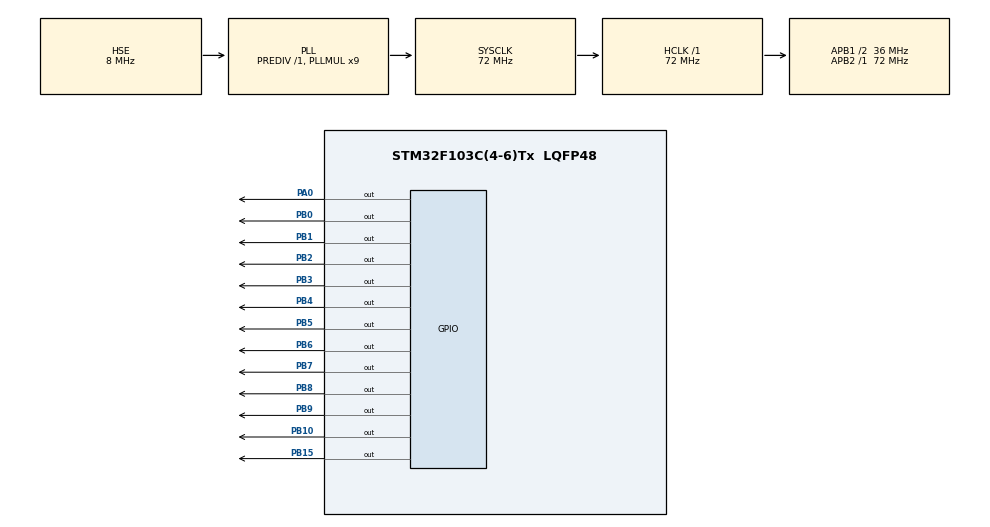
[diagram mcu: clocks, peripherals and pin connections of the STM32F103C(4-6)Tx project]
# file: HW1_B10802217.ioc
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Mcu.Family=STM32F1
Mcu.Name=STM32F103C(4-6)Tx
Mcu.Package=LQFP48
NVIC.PriorityGroup=NVIC_PRIORITYGROUP_4
NVIC.TIM2_IRQn=true\:0\:0\:false\:false\:true\:true\:true
PA0-WKUP.Signal=GPIO_Output
PB0.Signal=GPIO_Output
PB1.Signal=GPIO_Output
PB10.Signal=GPIO_Output
PB15.Signal=GPIO_Output
PB2.Signal=GPIO_Output
PB3.Signal=GPIO_Output
PB4.Signal=GPIO_Output
PB5.Signal=GPIO_Output
PB6.Signal=GPIO_Output
PB7.Signal=GPIO_Output
PB8.Signal=GPIO_Output
PB9.Signal=GPIO_Output
PC14-OSC32_IN.Mode=LSE-External-Oscillator
PC14-OSC32_IN.Signal=RCC_OSC32_IN
PC15-OSC32_OUT.Mode=LSE-External-Oscillator
PC15-OSC32_OUT.Signal=RCC_OSC32_OUT
PD0-OSC_IN.Mode=HSE-External-Oscillator
PD0-OSC_IN.Signal=RCC_OSC_IN
PD1-OSC_OUT.Mode=HSE-External-Oscillator
PD1-OSC_OUT.Signal=RCC_OSC_OUT
ProjectManager.HeapSize=0x200
ProjectManager.StackSize=0x400
ProjectManager.TargetToolchain=MDK-ARM V5
RCC.AHBFreq_Value=72000000
RCC.APB1CLKDivider=RCC_HCLK_DIV2
RCC.APB1Freq_Value=36000000
RCC.APB1TimFreq_Value=72000000
RCC.APB2Freq_Value=72000000
RCC.APB2TimFreq_Value=72000000
RCC.HCLKFreq_Value=72000000
RCC.PLLMUL=RCC_PLL_MUL9
RCC.PLLSourceVirtual=RCC_PLLSOURCE_HSE
RCC.SYSCLKFreq_VALUE=72000000
RCC.SYSCLKSource=RCC_SYSCLKSOURCE_PLLCLK
RCC.USBFreq_Value=72000000
TIM2.Period=1
TIM2.Prescaler=720
VP_SYS_VS_ND.Mode=No_Debug
VP_TIM2_VS_ClockSourceINT.Mode=Internal
board=custom

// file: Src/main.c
/* USER CODE BEGIN Header */
/**
  ******************************************************************************
  * @file           : main.c
  * @brief          : Main program body
  ******************************************************************************
  * @attention
  *
  * <h2><center>&copy; Copyright (c) 2021 STMicroelectronics.
  * All rights reserved.</center></h2>
  *
  * This software component is licensed by ST under BSD 3-Clause license,
  * the "License"; You may not use this file except in compliance with the
  * License. You may obtain a copy of the License at:
  *                        opensource.org/licenses/BSD-3-Clause
  *
  ******************************************************************************
  */
/* USER CODE END Header */

#include "main.h"

/* USER CODE BEGIN PM */
int flag;
int count1, dtime;
int *dflag, dflag1;
uint8_t num[10] = {0x30, 0x31, 0x32, 0x33, 0x34, 0x35, 0x36, 0x37, 0x38, 0x39};
/* USER CODE END PM */

TIM_HandleTypeDef htim2;

void SystemClock_Config(void);
static void MX_GPIO_Init(void);
static void MX_TIM2_Init(void);

/* USER CODE BEGIN 0 */
void Delay_10us (int us)	//10us
{
	flag = 1;
	dtime = us;
	count1 = 0;
	*dflag = 1;
	dflag1 = 1;
	for (; *dflag == 1; *dflag = dflag1);
}

void WriteLcdCom (uint8_t com)
{
	Delay_10us (2);
	GPIOB -> BSRR = 0x00ff0000;
	GPIOB -> BSRR = com;
	HAL_GPIO_WritePin(GPIOB, GPIO_PIN_9, GPIO_PIN_RESET); // write data to LCD
	HAL_GPIO_WritePin(GPIOB, GPIO_PIN_10, GPIO_PIN_RESET); // instruction input
	HAL_GPIO_WritePin(GPIOB, GPIO_PIN_8, GPIO_PIN_RESET); // initial HIGH enable
	Delay_10us (1);
	// negative edge trigger
	HAL_GPIO_WritePin(GPIOB, GPIO_PIN_8, GPIO_PIN_SET);
	Delay_10us (1);
	HAL_GPIO_WritePin(GPIOB, GPIO_PIN_8, GPIO_PIN_RESET);
	Delay_10us (1);
}

void TriggerDHT11 ()
{
	HAL_GPIO_WritePin (GPIOA, GPIO_PIN_0, GPIO_PIN_SET);
	Delay_10us (2);
	HAL_GPIO_WritePin (GPIOA, GPIO_PIN_0, GPIO_PIN_RESET);
	Delay_10us (1900); // delay 18ms
	HAL_GPIO_WritePin (GPIOA, GPIO_PIN_0, GPIO_PIN_SET);
	Delay_10us (3); // delay 30us
}

void WriteLcdData (uint8_t data)
{
	Delay_10us (2);
	GPIOB -> BSRR = 0x00ff0000;
	GPIOB -> BSRR = data;
	HAL_GPIO_WritePin(GPIOB, GPIO_PIN_9, GPIO_PIN_RESET); // write data to LCD
	HAL_GPIO_WritePin(GPIOB, GPIO_PIN_10, GPIO_PIN_SET); // data input
	HAL_GPIO_WritePin(GPIOB, GPIO_PIN_8, GPIO_PIN_RESET); // initial HIGH enable
	Delay_10us (1);
	// negative edge trigger
	HAL_GPIO_WritePin(GPIOB, GPIO_PIN_8, GPIO_PIN_SET);
	Delay_10us (1);
	HAL_GPIO_WritePin(GPIOB, GPIO_PIN_8, GPIO_PIN_RESET);
	Delay_10us (1);
}

/*    Display NTUST    */
void PrintNTUST ()
{
	WriteLcdCom (0x80 + 6);
	WriteLcdData (0x4E); // 'N'
	WriteLcdData (0x54); // 'T'
	WriteLcdData (0x55); // 'U'
	WriteLcdData (0x53); // 'S'
	WriteLcdData (0x54); // 'T'
}

/*    Display temperature and humidity    */
void PrintData (int temp, int humi)
{
	int temp_tens = temp / 10;
	int temp_digits = temp % 10;
	int humi_tens = humi / 10;
	int humi_digits = humi % 10;
	WriteLcdCom (0xC0 + 3); // write second line
	WriteLcdData (0x54); // 'T'
	WriteLcdData (0x3A); // ':'
	WriteLcdData (num[temp_tens]);
	WriteLcdData (num[temp_digits]);
	WriteLcdData (0x20); // ' '
	WriteLcdData (0x48); // 'H'
	WriteLcdData (0x3A); // ':'
	WriteLcdData (num[humi_tens]);
	WriteLcdData (num[humi_digits]);
	WriteLcdData (0x25); // '%'
}

uint8_t DHT11ReadByte ()
{
	uint8_t dataIn = 0x00;
	int counter, counter1;
	for (counter = 0 ; counter < 8; counter++)
	{
		counter1 = 0;
		while (!HAL_GPIO_ReadPin (GPIOA, GPIO_PIN_0)); // Lo 50us
		while (HAL_GPIO_ReadPin (GPIOA, GPIO_PIN_0))
		{
			counter1 ++;
			Delay_10us (1);
		}

		if (counter1 >= 4)
		{
			dataIn += 0x01;
			dataIn <<= 1;
		}
		else
		{
			dataIn <<= 1;
		}
	}
	return dataIn;
}

int DHT11ReadCheck ()
{
	int count0 = 0; // check DHT11 begin signal
	int count1 = 0;
	while (!HAL_GPIO_ReadPin (GPIOA, GPIO_PIN_0))
	{
		count0++;
		Delay_10us (1);
	}
	if(count0 > 10 || count0 < 4)
		return 0;
	while (HAL_GPIO_ReadPin (GPIOA, GPIO_PIN_0))
	{
		count1++;
		Delay_10us (1);
	}
	if (count1 > 10 || count1 < 4)
		return 0;

	return 1;
}

void DHT11ReadData ()
{
	uint8_t buff[5]; // temp*2 + humi*2 + checknum*1
	int counter;
	if (DHT11ReadCheck() == 1)
	{
		for (counter = 0; counter < 5; counter ++)
			buff[counter] = DHT11ReadByte();
		if(buff[0] + buff[1] + buff[2] + buff[3] == buff[4]) // data is correct
			PrintData (buff[2]/2, buff[0]/2);
		else // data is not correct
			PrintData (0, 0);
	}
	else // dataReadcheck is not correct
	{
		PrintData (0, 0);
	}
}
/* USER CODE END 0 */

int main(void)
{
  /* USER CODE BEGIN 1 */
	flag = 0;
  /* USER CODE END 1 */

  /* MCU Configuration--------------------------------------------------------*/

  /* Reset of all peripherals, Initializes the Flash interface and the Systick. */
  HAL_Init();

  /* Configure the system clock */
  SystemClock_Config();

  /* Initialize all configured peripherals */
  MX_GPIO_Init();
  MX_TIM2_Init();
  /* USER CODE BEGIN 2 */
	HAL_TIM_Base_Start_IT(&htim2);

	WriteLcdCom (0x38); //display two line
	WriteLcdCom (0x06); //display setting
	WriteLcdCom (0x0C); //display on

	HAL_GPIO_WritePin (GPIOB, GPIO_PIN_15, GPIO_PIN_SET);
	PrintNTUST ();
	HAL_Delay (1000); // booting scene

  /* USER CODE END 2 */

  /* Infinite loop */
  while (1)
  {
		HAL_GPIO_WritePin (GPIOB, GPIO_PIN_15, GPIO_PIN_RESET); // maintain 200ms
		TriggerDHT11 (); // Trigger DHT11
		DHT11ReadData ();
		Delay_10us (18000); // 20ms
		HAL_GPIO_WritePin (GPIOB, GPIO_PIN_15, GPIO_PIN_SET); // maintain 800ms
		Delay_10us (80000);
  }
}

void SystemClock_Config(void)
{
  RCC_OscInitTypeDef RCC_OscInitStruct = {0};
  RCC_ClkInitTypeDef RCC_ClkInitStruct = {0};

  /** Initializes the CPU, AHB and APB busses clocks
  */
  RCC_OscInitStruct.OscillatorType = RCC_OSCILLATORTYPE_HSE;
  RCC_OscInitStruct.HSEState = RCC_HSE_ON;
  RCC_OscInitStruct.HSEPredivValue = RCC_HSE_PREDIV_DIV1;
  RCC_OscInitStruct.HSIState = RCC_HSI_ON;
  RCC_OscInitStruct.PLL.PLLState = RCC_PLL_ON;
  RCC_OscInitStruct.PLL.PLLSource = RCC_PLLSOURCE_HSE;
  RCC_OscInitStruct.PLL.PLLMUL = RCC_PLL_MUL9;
  if (HAL_RCC_OscConfig(&RCC_OscInitStruct) != HAL_OK)
  {
    Error_Handler();
  }
  /** Initializes the CPU, AHB and APB busses clocks
  */
  RCC_ClkInitStruct.ClockType = RCC_CLOCKTYPE_HCLK|RCC_CLOCKTYPE_SYSCLK
                              |RCC_CLOCKTYPE_PCLK1|RCC_CLOCKTYPE_PCLK2;
  RCC_ClkInitStruct.SYSCLKSource = RCC_SYSCLKSOURCE_PLLCLK;
  RCC_ClkInitStruct.AHBCLKDivider = RCC_SYSCLK_DIV1;
  RCC_ClkInitStruct.APB1CLKDivider = RCC_HCLK_DIV2;
  RCC_ClkInitStruct.APB2CLKDivider = RCC_HCLK_DIV1;

  if (HAL_RCC_ClockConfig(&RCC_ClkInitStruct, FLASH_LATENCY_2) != HAL_OK)
  {
    Error_Handler();
  }
}

static void MX_TIM2_Init(void)
{

  TIM_ClockConfigTypeDef sClockSourceConfig = {0};
  TIM_MasterConfigTypeDef sMasterConfig = {0};

  htim2.Instance = TIM2;
  htim2.Init.Prescaler = 720;
  htim2.Init.CounterMode = TIM_COUNTERMODE_UP;
  htim2.Init.Period = 1;
  htim2.Init.ClockDivision = TIM_CLOCKDIVISION_DIV1;
  htim2.Init.AutoReloadPreload = TIM_AUTORELOAD_PRELOAD_DISABLE;
  if (HAL_TIM_Base_Init(&htim2) != HAL_OK)
  {
    Error_Handler();
  }
  sClockSourceConfig.ClockSource = TIM_CLOCKSOURCE_INTERNAL;
  if (HAL_TIM_ConfigClockSource(&htim2, &sClockSourceConfig) != HAL_OK)
  {
    Error_Handler();
  }
  sMasterConfig.MasterOutputTrigger = TIM_TRGO_RESET;
  sMasterConfig.MasterSlaveMode = TIM_MASTERSLAVEMODE_DISABLE;
  if (HAL_TIMEx_MasterConfigSynchronization(&htim2, &sMasterConfig) != HAL_OK)
  {
    Error_Handler();
  }

}

static void MX_GPIO_Init(void)
{
  GPIO_InitTypeDef GPIO_InitStruct = {0};

  /* GPIO Ports Clock Enable */
  __HAL_RCC_GPIOC_CLK_ENABLE();
  __HAL_RCC_GPIOD_CLK_ENABLE();
  __HAL_RCC_GPIOA_CLK_ENABLE();
  __HAL_RCC_GPIOB_CLK_ENABLE();

  /*Configure GPIO pin Output Level */
  HAL_GPIO_WritePin(GPIOA, GPIO_PIN_0, GPIO_PIN_RESET);

  /*Configure GPIO pin Output Level */
  HAL_GPIO_WritePin(GPIOB, GPIO_PIN_0|GPIO_PIN_1|GPIO_PIN_2|GPIO_PIN_10
                          |GPIO_PIN_15|GPIO_PIN_3|GPIO_PIN_4|GPIO_PIN_5
                          |GPIO_PIN_6|GPIO_PIN_7|GPIO_PIN_8|GPIO_PIN_9, GPIO_PIN_RESET);

  /*Configure GPIO pin : PA0 */
  GPIO_InitStruct.Pin = GPIO_PIN_0;
  GPIO_InitStruct.Mode = GPIO_MODE_OUTPUT_PP;
  GPIO_InitStruct.Pull = GPIO_NOPULL;
  GPIO_InitStruct.Speed = GPIO_SPEED_FREQ_LOW;
  HAL_GPIO_Init(GPIOA, &GPIO_InitStruct);

  /*Configure GPIO pins : PB0 PB1 PB2 PB10
                           PB15 PB3 PB4 PB5
                           PB6 PB7 PB8 PB9 */
  GPIO_InitStruct.Pin = GPIO_PIN_0|GPIO_PIN_1|GPIO_PIN_2|GPIO_PIN_10
                          |GPIO_PIN_15|GPIO_PIN_3|GPIO_PIN_4|GPIO_PIN_5
                          |GPIO_PIN_6|GPIO_PIN_7|GPIO_PIN_8|GPIO_PIN_9;
  GPIO_InitStruct.Mode = GPIO_MODE_OUTPUT_PP;
  GPIO_InitStruct.Pull = GPIO_NOPULL;
  GPIO_InitStruct.Speed = GPIO_SPEED_FREQ_LOW;
  HAL_GPIO_Init(GPIOB, &GPIO_InitStruct);

}

/* USER CODE BEGIN 4 */
void HAL_TIM_PeriodElapsedCallback(TIM_HandleTypeDef *htim) { // 10 us
	switch (flag)
	{
		case 0:
			break;

		case 1:
			if (count1 >= dtime)
			{
				count1 = 0;
				flag = 0;
				dflag1 = 0;
			}
			else
			{
				count1++;
				flag = 1;
			}
			break;

			default:
				break;
	}
}
/* USER CODE END 4 */

void Error_Handler(void)
{
}

/************************ (C) COPYRIGHT STMicroelectronics *****END OF FILE****/
